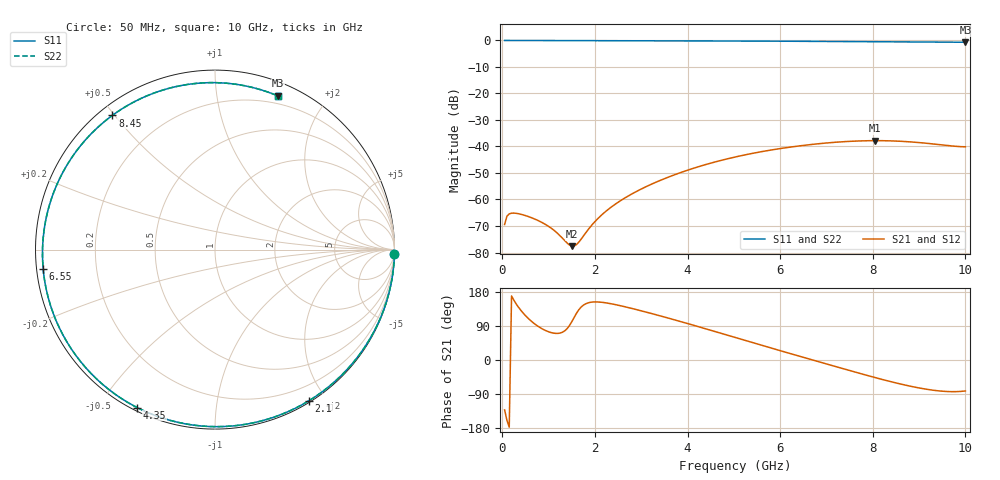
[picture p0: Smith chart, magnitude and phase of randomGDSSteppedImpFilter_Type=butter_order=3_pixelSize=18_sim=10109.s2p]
! freq	dB(S11)	phase(S11)	dB(S12)	phase(S12)
!  dB(S21)	phase(S21)	dB(S22)	phase(S22)
!S-par simulation data
#  GHz  S  DB  R 50
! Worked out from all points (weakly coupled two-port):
!   200 points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, 50 MHz to 10 GHz, reference 50 ohm
!   highest |S21| = -37.80 dB at 8.05 GHz (marker M1); lowest = -77.6 dB at 1.5 GHz (marker M2)
!   lowest |S11| = -0.7 dB at 10 GHz (marker M3), VSWR 25.71, Z = 6.22 + j74 ohm
!   |S11| at or under -10 dB: nowhere
!   |S22| runs from -0.7 to 0.0 dB; largest |S21 - S12| = 0
!   S11 on the Smith chart (normalised r, x): 50 MHz: 0, -81; 2.1 GHz: 0.02, -1.80; 4.35 GHz: 0.01, -0.62; 6.55 GHz: 0.02, -0.06; 8.45 GHz: 0.04, +0.49; 10 GHz: 0.12, +1.48
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0.05  -0.00 -1.4  -69.43 -131.7  -69.43 -131.7  -0.00 -1.4
0.1  -0.00 -2.8  -66.30 -159.1  -66.30 -159.1  -0.00 -2.8
0.15  -0.00 -4.3  -65.43 -177.3  -65.43 -177.3  -0.00 -4.3
0.5  -0.01 -14.1  -66.06 117.2  -66.06 117.2  -0.01 -14.1
1  -0.03 -28.1  -70.14 74.5  -70.14 74.5  -0.03 -28.1
1.5  -0.05 -41.9  -77.61 100.9  -77.61 100.9  -0.05 -41.9
1.6  -0.06 -44.6  -77.05 122.9  -77.05 122.9  -0.06 -44.6
1.75  -0.06 -48.7  -73.79 144.6  -73.79 144.6  -0.06 -48.7
2.1  -0.07 -58.1  -66.57 152.9  -66.57 152.9  -0.07 -58.1
2.65  -0.09 -72.6  -59.39 140.5  -59.39 140.5  -0.09 -72.7
3.4  -0.12 -92.1  -52.87 116.8  -52.87 116.8  -0.12 -92.1
4.35  -0.16 -116.2  -47.03 83.9  -47.03 83.9  -0.16 -116.2
5.05  -0.21 -133.9  -43.88 58.7  -43.88 58.7  -0.21 -133.9
5.85  -0.26 -154.6  -41.20 30.0  -41.20 30.0  -0.26 -154.6
6.55  -0.32 -173.5  -39.49 5.3  -39.49 5.3  -0.32 -173.5
6.7  -0.34 -177.7  -39.20 0.1  -39.20 0.1  -0.34 -177.7
7.4  -0.41 161.8  -38.16 -24.3  -38.16 -24.3  -0.41 161.8
8.05  -0.48 141.1  -37.80 -46.4  -37.80 -46.4  -0.48 141.1
8.35  -0.51 130.9  -37.86 -56.0  -37.86 -56.0  -0.51 130.9
8.45  -0.53 127.4  -37.92 -59.0  -37.92 -59.0  -0.53 127.4
9.25  -0.61 97.8  -38.94 -78.9  -38.94 -78.9  -0.61 97.8
10  -0.68 67.9  -40.12 -81.8  -40.12 -81.8  -0.68 67.8
